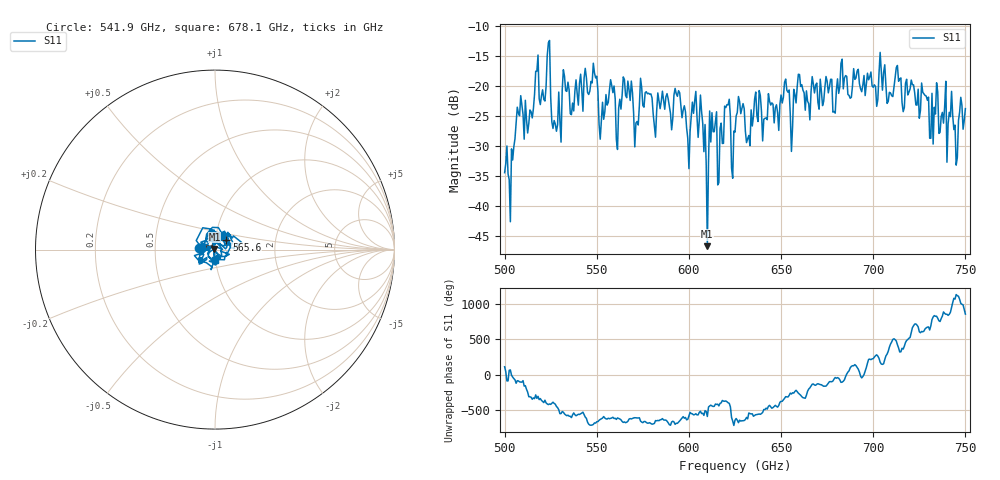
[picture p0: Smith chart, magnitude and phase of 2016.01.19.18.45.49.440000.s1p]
!Created with skrf (http://scikit-rf.org).
# GHz S RI R 50.0
!freq ReS11 ImS11
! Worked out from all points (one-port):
!   401 points, 500 GHz to 750 GHz, reference 50 ohm
!   lowest |S11| = -46.6 dB at 610 GHz (marker M1), VSWR 1.01, Z = 49.7 + j0.37 ohm
!   |S11| at or under -10 dB: start of sweep to end of sweep
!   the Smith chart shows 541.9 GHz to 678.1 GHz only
!   S11 on the Smith chart (normalised r, x): 541.9 GHz: 0.83, +0.01; 565.6 GHz: 1.13, +0.12; 678.1 GHz: 0.99, -0.12
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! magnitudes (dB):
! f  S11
! 500 GHz  -34.4
! 503.1 GHz  -42.6
! 508.1 GHz  -25.0
! 523.1 GHz  -15.0
! 526.9 GHz  -25.8
! 531.2 GHz  -20.7
! 541.9 GHz  -20.7
! 562.5 GHz  -22.2
! 565.6 GHz  -21.6
! 571.2 GHz  -26.2
! 575 GHz  -23.3
! 593.8 GHz  -21.7
! 599.4 GHz  -28.7
! 602.5 GHz  -24.6
! 607.5 GHz  -26.2
! 610 GHz  -46.6
! 613.8 GHz  -27.6
! 616.9 GHz  -27.1
! 620.6 GHz  -23.1
! 625 GHz  -27.7
! 653.1 GHz  -20.7
! 656.2 GHz  -26.7
! 660 GHz  -18.1
! 678.1 GHz  -24.4
! 687.5 GHz  -22.1
! 718.8 GHz  -21.5
! 745 GHz  -33.2
! 750 GHz  -23.8
